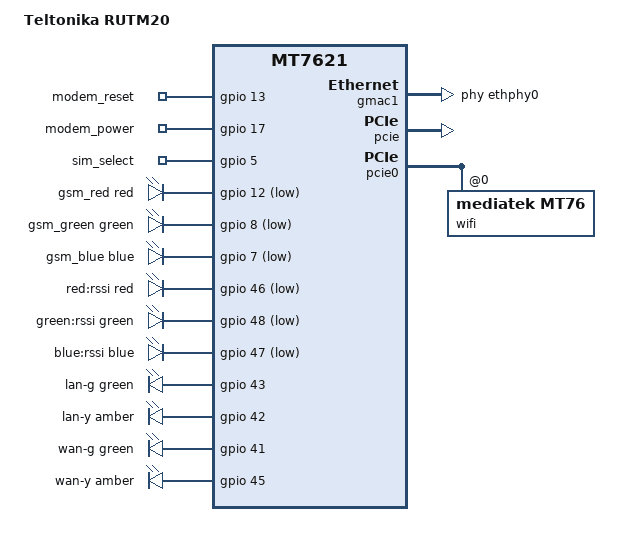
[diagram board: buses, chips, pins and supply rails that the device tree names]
// SPDX-License-Identifier: GPL-2.0-or-later OR MIT
/*
 * Teltonika RUTM20: GPIO and LED pin map from the hardware description
 * shipped in Teltonika RUTM_R_SDK_00.07.26.3.
 */

#include "mt7621_teltonika_rutm-common.dtsi"

/ {
	compatible = "teltonika,rutm20", "mediatek,mt7621-soc";
	model = "Teltonika RUTM20";

	gpio-export {
		compatible = "gpio-export";

		gpio_modem_reset {
			gpio-export,name = "modem_reset";
			gpio-export,output = <0>;
			gpios = <&gpio 13 GPIO_ACTIVE_HIGH>;
		};

		gpio_modem_power {
			gpio-export,name = "modem_power";
			gpio-export,output = <1>;
			gpios = <&gpio 17 GPIO_ACTIVE_HIGH>;
		};

		gpio_sim_select {
			gpio-export,name = "sim_select";
			gpio-export,output = <0>;
			gpios = <&gpio 5 GPIO_ACTIVE_HIGH>;
		};
	};

	leds {
		compatible = "gpio-leds";

		gsm_red {
			function = LED_FUNCTION_MOBILE;
			color = <LED_COLOR_ID_RED>;
			gpios = <&gpio 12 GPIO_ACTIVE_LOW>;
		};

		gsm_green {
			function = LED_FUNCTION_MOBILE;
			color = <LED_COLOR_ID_GREEN>;
			gpios = <&gpio 8 GPIO_ACTIVE_LOW>;
		};

		gsm_blue {
			function = LED_FUNCTION_MOBILE;
			color = <LED_COLOR_ID_BLUE>;
			gpios = <&gpio 7 GPIO_ACTIVE_LOW>;
		};

		rssi_red {
			label = "red:rssi";
			color = <LED_COLOR_ID_RED>;
			gpios = <&gpio 46 GPIO_ACTIVE_LOW>;
		};

		rssi_green {
			label = "green:rssi";
			color = <LED_COLOR_ID_GREEN>;
			gpios = <&gpio 48 GPIO_ACTIVE_LOW>;
		};

		rssi_blue {
			label = "blue:rssi";
			color = <LED_COLOR_ID_BLUE>;
			gpios = <&gpio 47 GPIO_ACTIVE_LOW>;
		};

		lan-g {
			function = LED_FUNCTION_LAN;
			color = <LED_COLOR_ID_GREEN>;
			gpios = <&gpio 43 GPIO_ACTIVE_HIGH>;
			linux,default-trigger = "mt7530-0:01:1Gbps";
		};

		lan-y {
			function = LED_FUNCTION_LAN;
			color = <LED_COLOR_ID_AMBER>;
			gpios = <&gpio 42 GPIO_ACTIVE_HIGH>;
			linux,default-trigger = "mt7530-0:01:100Mbps";
		};

		wan-g {
			function = LED_FUNCTION_WAN;
			color = <LED_COLOR_ID_GREEN>;
			gpios = <&gpio 41 GPIO_ACTIVE_HIGH>;
			linux,default-trigger = "mt7530-0:00:1Gbps";
		};

		wan-y {
			function = LED_FUNCTION_WAN;
			color = <LED_COLOR_ID_AMBER>;
			gpios = <&gpio 45 GPIO_ACTIVE_HIGH>;
			linux,default-trigger = "mt7530-0:00:100Mbps";
		};
	};
};

&switch0 {
	ports {
		port@1 {
			status = "okay";
			label = "lan";
		};
	};
};

&gmac1 {
	phy-handle = <&ethphy0>;
};

&ethphy0 {
	/delete-property/ interrupts;
};

&pcie {
	status = "okay";
};

&pcie0 {
	wifi@0,0 {
		compatible = "mediatek,mt76";
		reg = <0x0000 0 0 0 0>;
		nvmem-cells = <&eeprom_factory_0>;
		nvmem-cell-names = "eeprom";
		#address-cells = <1>;
		#size-cells = <0>;

		band@0 {
			reg = <0>;
			nvmem-cells = <&macaddr_config_0 2>;
			nvmem-cell-names = "mac-address";
		};

		band@1 {
			reg = <1>;
			nvmem-cells = <&macaddr_config_0 3>;
			nvmem-cell-names = "mac-address";
		};

		led {
			status = "disabled";
		};
	};
};
